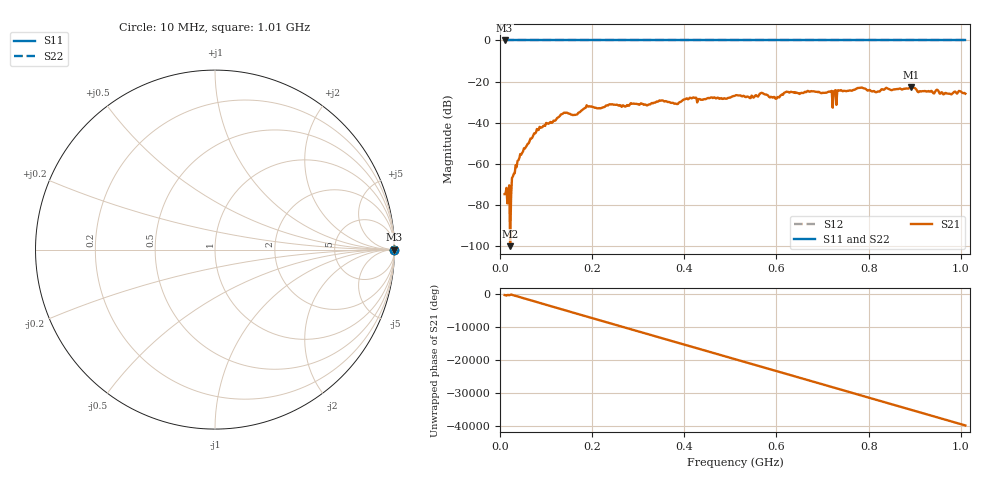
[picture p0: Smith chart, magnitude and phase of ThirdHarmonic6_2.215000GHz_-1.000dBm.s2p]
! 8/17/2025 2:23:20 AM
! C:\ANRITSUVNA\TEMP\TEMP.S2P
! CHANNEL.1
! TR.MEASUREMENT
! RAW.DATA
! RF.CORRECTION.OFF
! AVERAGING.OFF
! IF.BANDWIDTH: 5KHZ
! SWEEPTYPE:  FREQ.SWEEP(Linear)
! Reference Plane Port Info
! PORT:  PORT1  PORT2
! DISTANCE:  0  m  0  m
! TIME:  0  s  0  s
! PHASE.OFFSET:  0  deg.  0  deg.
! LOSS:  0  dB  0  dB
! REF.LOSS:  0  dB  0  dB
! REF.FREQ:  0  Hz  0  Hz
! Power Info
! POWER:  -20  dBm  -20  dBm
! EFF.POWER:  -20  dBm  -20  dBm
! SOURCE.ATTEN:  0  dB  0  dB
! TEST.ATTEN:  0  dB  0  dB
# GHZ S RI R 50.0
! FREQ.GHZ  S11RE  S11IM  S21RE  S21IM  S12RE  S12IM  S22RE  S22IM
!; PortSelection: Port_12
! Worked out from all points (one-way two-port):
!   501 points, 10 MHz to 1.01 GHz, reference 50 ohm
!   highest |S21| = -22.87 dB at 892 MHz (marker M1); lowest = -100.1 dB at 22 MHz (marker M2)
!   lowest |S11| = 0.0 dB at 10 MHz (marker M3)
!   |S11| at or under -10 dB: nowhere
!   |S22| runs from 0.0 to 0.0 dB; largest |S21 - S12| = 1.1
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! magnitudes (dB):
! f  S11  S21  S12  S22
! 10 MHz  0.0  -74.8  0.0  0.0
! 20 MHz  0.0  -70.5  0.0  0.0
! 22 MHz  0.0  -100.1  0.0  0.0
! 30 MHz  0.0  -64.9  0.0  0.0
! 42 MHz  0.0  -57.2  0.0  0.0
! 78 MHz  0.0  -44.8  0.0  0.0
! 136 MHz  0.0  -35.7  0.0  0.0
! 178 MHz  0.0  -33.9  0.0  0.0
! 344 MHz  0.0  -29.6  0.0  0.0
! 382 MHz  0.0  -30.8  0.0  0.0
! 416 MHz  0.0  -28.2  0.0  0.0
! 510 MHz  0.0  -26.9  0.0  0.0
! 568 MHz  0.0  -25.5  0.0  0.0
! 602 MHz  0.0  -27.6  0.0  0.0
! 622 MHz  0.0  -24.9  0.0  0.0
! 678 MHz  0.0  -24.8  0.0  0.0
! 716 MHz  0.0  -25.0  0.0  0.0
! 726 MHz  0.0  -24.5  0.0  0.0
! 736 MHz  0.0  -24.5  0.0  0.0
! 844 MHz  0.0  -23.7  0.0  0.0
! 892 MHz  0.0  -22.9  0.0  0.0
! 1.01 GHz  0.0  -25.9  0.0  0.0
